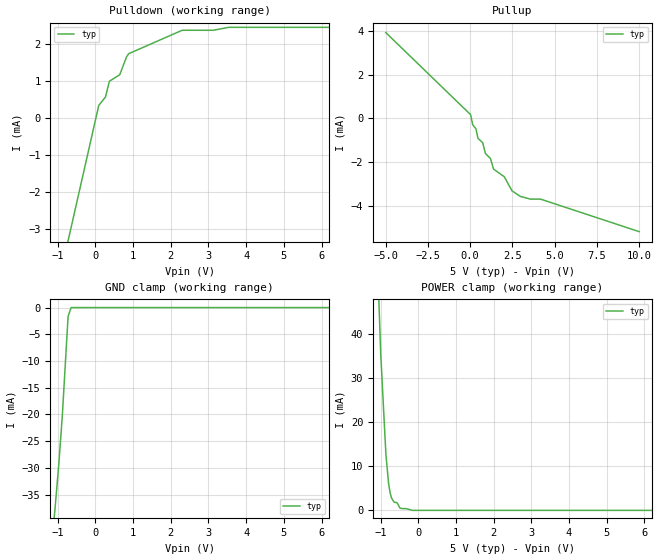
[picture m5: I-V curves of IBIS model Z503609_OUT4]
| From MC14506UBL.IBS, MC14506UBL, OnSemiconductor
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| (C) COPYRIGHT 1993-2000
| MENTOR GRAPHICS CORPORATION
| ICX STANDARD LIBRARY, ICX PROJECT MODELING,
| ICX CUSTOM MODELING, ICX VENDOR MODEL
| ALL RIGHTS RESERVED.
| THE FOLLOWING ARE TRADEMARKS OR SERVICE MARKS OF
| MENTOR GRAPHICS CORPORATION:ICX (R), ICX STANDARD
| LIBRARY(R), ICX PROJECT MODELING(R), ICX CUSTOM
| MODELING(R), qualityIBIS(TM), MODELVIEWER(TM),
| AND MODELEDITOR(TM)
| ALL COPIES OF SOFTWARE, INCLUDING BUT NOT LIMITED TO
| ANY MODIFICATIONS, ENHANCEMENTS OR DERIVATIVE WORKS,
| MUST CONTAIN ALL MENTOR GRAPHICS CORPORATION'S
| NOTICES AND LEGENDS, INCLUDING THOSE EMBEDDED IN
| SOFTWARE AND THOSE AFFIXED TO SOFTWARE MEDIUM
| AND CONTAINER, AS RECEIVED FROM MENTOR GRAPHICS
| CORPORATION.
| Model Application Version 1.89 2/18/99.
[Model] Z503609_OUT4
Model_type Output
Vref=0.000V
Rref=500.0Mohms
Cref=50.00pF
Vmeas=2.500V
C_comp 8.000pF NA NA
| variable typ   min   max
[Voltage Range] 5.000V NA NA
[POWER Clamp Reference] 5.000V NA NA
[Pullup Reference] 5.000V NA NA
[Pulldown Reference] 0.000V NA NA
[GND Clamp Reference] 0.000V NA NA
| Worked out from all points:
|   slope of the pulldown table from 0 to 0.75 V, typ, clamps not added: 498 ohm
|   slope of the pullup table from 0 to 0.75 V, typ, clamps not added: 565 ohm
|   GND clamp passes 1 mA (typ) near -0.70 V on its own axis
|   POWER clamp passes 1 mA (typ) near -0.52 V on its own axis
[GND Clamp]
-5V       -315.6mA   NA         NA
-1.079V   -38.02mA   NA         NA
-972mV    -29.18mA   NA         NA
-880.4mV  -20.22mA   NA         NA
-727.3mV  -1.661mA   NA         NA
-646.5mV  0A         NA         NA
10V       0A         NA         NA
[Pulldown]
-5V       -22.51mA   NA         NA
86.78mV   350.4uA    NA         NA
265.8mV   581.1uA    NA         NA
368.4mV   1.005mA    NA         NA
644.6mV   1.182mA    NA         NA
825.2mV   1.667mA    NA         NA
883.7mV   1.751mA    NA         NA
2.3V      2.383mA    NA         NA
3.125V    2.383mA    NA         NA
3.537V    2.463mA    NA         NA
10V       2.463mA    NA         NA
[Pullup]
-5V       3.93mA     NA         NA
23mV      169.5uA    NA         NA
146mV     -291.7uA   NA         NA
343mV     -484.7uA   NA         NA
460mV     -917.8uA   NA         NA
742mV     -1.115mA   NA         NA
903mV     -1.613mA   NA         NA
1.201V    -1.839mA   NA         NA
1.38V     -2.322mA   NA         NA
2.017V    -2.676mA   NA         NA
2.476V    -3.321mA   NA         NA
10V       -5.189mA   NA         NA
[POWER Clamp]
-5V       1.244A     NA         NA
-1.138V   70.39mA    NA         NA
-996mV    35.43mA    NA         NA
-859mV    12.7mA     NA         NA
-787mV    6.054mA    NA         NA
-747mV    3.972mA    NA         NA
-708mV    2.804mA    NA         NA
-651mV    1.959mA    NA         NA
-549mV    1.568mA    NA         NA
-454mV    422.7uA    NA         NA
-156.5mV  0A         NA         NA
10V       0A         NA         NA
[Ramp]
| variable typ min max
dV/dt_r 1.083/26.96n NA NA
dV/dt_f 1.083/30.74n NA NA
R_load = 500.0Ohms
